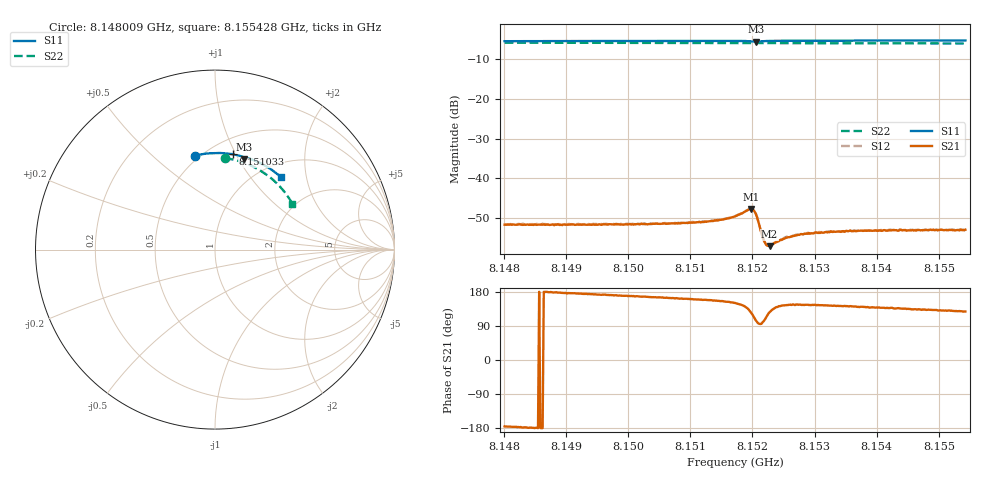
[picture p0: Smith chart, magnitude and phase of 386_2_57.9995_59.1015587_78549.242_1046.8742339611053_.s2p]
#  HZ  S  RI  R  50.00
! Rohde & Schwarz Vector Network Analyzer
! Rohde-Schwarz,ZNB20-2Port,1311601062101988,3.16
! Created: UTC 3/21/2024, 1:07:38 AM
! freq[Hz]  re:S11  im:S11  re:S21  im:S21  re:S12  im:S12  re:S22  im:S22
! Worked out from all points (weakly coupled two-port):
!   401 points, 8.148009 GHz to 8.155428 GHz, reference 50 ohm
!   highest |S21| = -47.70 dB at 8.151979 GHz (marker M1); lowest = -57.0 dB at 8.152275 GHz (marker M2)
!   lowest |S11| = -5.5 dB at 8.152053 GHz (marker M3), VSWR 3.25, Z = 37.7 + j52.7 ohm
!   |S11| at or under -10 dB: nowhere
!   |S22| runs from -6.0 to -5.8 dB; largest |S21 - S12| = 0.00012
!   S11 on the Smith chart (normalised r, x): 8.148009 GHz: 0.47, +0.69; 8.151033 GHz: 0.65, +0.97; 8.155428 GHz: 1.24, +1.43
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8.1480094e9  -0.111 0.5236  -0.00261 -0.000226  -0.00266 -0.000132  0.0547 0.5092
8.1492521e9  -0.0254 0.537  -0.00261 0.00024  -0.00264 0.000256  0.1337 0.4929
8.1504948e9  0.0611 0.5361  -0.0026 0.000667  -0.00262 0.000738  0.2084 0.4643
8.1510327e9  0.0986 0.5314  -0.00262 0.000919  -0.00268 0.000979  0.2389 0.4485
8.1514963e9  0.131 0.5246  -0.00274 0.00126  -0.00274 0.00132  0.2643 0.4332
8.1517189e9  0.1472 0.5198  -0.0029 0.00164  -0.0029 0.00168  0.2761 0.4253
8.1519229e9  0.1617 0.511  -0.00286 0.00278  -0.00282 0.00288  0.2867 0.4175
8.1519786e9  0.1639 0.5067  -0.00235 0.00338  -0.00232 0.00342  0.2894 0.4153
8.1520157e9  0.1635 0.5043  -0.00171 0.00362  -0.0017 0.00366  0.2912 0.4141
8.1520528e9  0.162 0.5035  -0.000934 0.00348  -0.000909 0.00353  0.2932 0.4127
8.1520899e9  0.1614 0.5049  -0.000361 0.00293  -0.000338 0.00295  0.2947 0.4115
8.1521455e9  0.1636 0.5081  -0.000199 0.00204  -0.000199 0.00203  0.2975 0.4094
8.1521826e9  0.1663 0.5094  -0.000367 0.00162  -0.000344 0.00164  0.2996 0.4081
8.1522197e9  0.1693 0.5101  -0.000556 0.00135  -0.000561 0.00138  0.3015 0.4068
8.1522382e9  0.1709 0.5102  -0.000662 0.00126  -0.000669 0.0013  0.3025 0.4059
8.1522753e9  0.1741 0.5102  -0.00083 0.00113  -0.000836 0.00119  0.3042 0.4044
8.1525535e9  0.1952 0.5056  -0.00147 0.00103  -0.00151 0.00108  0.318 0.3933
8.1527576e9  0.2094 0.5006  -0.00162 0.00108  -0.00163 0.00113  0.3277 0.3849
8.1529616e9  0.2228 0.4953  -0.00168 0.00116  -0.00169 0.00116  0.3373 0.3759
8.1535365e9  0.2593 0.4783  -0.0017 0.00133  -0.0017 0.00134  0.3628 0.3501
8.1542043e9  0.2995 0.4554  -0.00164 0.00152  -0.00162 0.00158  0.3896 0.3181
8.1554284e9  0.3671 0.405  -0.0014 0.00179  -0.00139 0.0018  0.4315 0.2542
